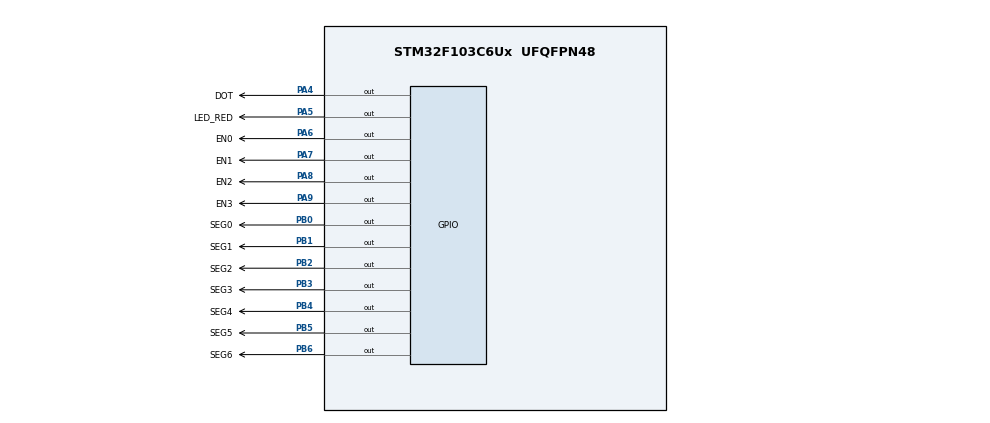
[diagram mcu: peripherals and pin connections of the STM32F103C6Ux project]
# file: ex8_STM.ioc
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Mcu.Family=STM32F1
Mcu.Name=STM32F103C6Ux
Mcu.Package=UFQFPN48
NVIC.PriorityGroup=NVIC_PRIORITYGROUP_4
NVIC.TIM2_IRQn=true\:0\:0\:false\:false\:true\:true\:true
PA4.GPIO_Label=DOT
PA4.Signal=GPIO_Output
PA5.GPIO_Label=LED_RED
PA5.Signal=GPIO_Output
PA6.GPIO_Label=EN0
PA6.Signal=GPIO_Output
PA7.GPIO_Label=EN1
PA7.Signal=GPIO_Output
PA8.GPIO_Label=EN2
PA8.Signal=GPIO_Output
PA9.GPIO_Label=EN3
PA9.Signal=GPIO_Output
PB0.GPIO_Label=SEG0
PB0.Signal=GPIO_Output
PB1.GPIO_Label=SEG1
PB1.Signal=GPIO_Output
PB2.GPIO_Label=SEG2
PB2.Signal=GPIO_Output
PB3.GPIO_Label=SEG3
PB3.Signal=GPIO_Output
PB4.GPIO_Label=SEG4
PB4.Signal=GPIO_Output
PB5.GPIO_Label=SEG5
PB5.Signal=GPIO_Output
PB6.GPIO_Label=SEG6
PB6.Signal=GPIO_Output
ProjectManager.HeapSize=0x200
ProjectManager.StackSize=0x400
ProjectManager.TargetToolchain=STM32CubeIDE
RCC.APB1Freq_Value=8000000
RCC.APB2Freq_Value=8000000
TIM2.Period=9
TIM2.Prescaler=7999
VP_SYS_VS_ND.Mode=No_Debug
VP_TIM2_VS_ClockSourceINT.Mode=Internal
board=custom

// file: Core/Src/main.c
/* USER CODE BEGIN Header */
/**
  ******************************************************************************
  * @file           : main.c
  * @brief          : Main program body
  ******************************************************************************
  * @attention
  *
  * <h2><center>&copy; Copyright (c) 2022 STMicroelectronics.
  * All rights reserved.</center></h2>
  *
  * This software component is licensed by ST under BSD 3-Clause license,
  * the "License"; You may not use this file except in compliance with the
  * License. You may obtain a copy of the License at:
  *                        opensource.org/licenses/BSD-3-Clause
  *
  ******************************************************************************
  */
/* USER CODE END Header */
#include "main.h"

TIM_HandleTypeDef htim2;

void SystemClock_Config(void);
static void MX_GPIO_Init(void);
static void MX_TIM2_Init(void);

/* USER CODE BEGIN 0 */
uint8_t segmentNumber[10] = {
        0x3f,  // 0
        0x06,  // 1
        0x5b,  // 2
        0x4f,  // 3
        0x66,  // 4
        0x6d,  // 5
        0x7d,  // 6
        0x07,  // 7
        0x7f,  // 8
        0x67   // 9
};

void display7SEG(uint8_t number){
	HAL_GPIO_WritePin(SEG0_GPIO_Port, SEG0_Pin, ((number>>0)&0x01)^0x01);
	HAL_GPIO_WritePin(SEG1_GPIO_Port, SEG1_Pin, ((number>>1)&0x01)^0x01);
	HAL_GPIO_WritePin(SEG2_GPIO_Port, SEG2_Pin, ((number>>2)&0x01)^0x01);
	HAL_GPIO_WritePin(SEG3_GPIO_Port, SEG3_Pin, ((number>>3)&0x01)^0x01);
	HAL_GPIO_WritePin(SEG4_GPIO_Port, SEG4_Pin, ((number>>4)&0x01)^0x01);
	HAL_GPIO_WritePin(SEG5_GPIO_Port, SEG5_Pin, ((number>>5)&0x01)^0x01);
	HAL_GPIO_WritePin(SEG6_GPIO_Port, SEG6_Pin, ((number>>6)&0x01)^0x01);
}
int led_buffer[4] = {1, 2, 3, 4};
const int MAX_LED = 4;
int index_led = 0;
void update7SEG(int index){
	switch (index){
		case 0:{
			HAL_GPIO_WritePin(GPIOA, EN1_Pin|EN2_Pin
								|EN3_Pin, GPIO_PIN_SET);
			HAL_GPIO_WritePin(EN0_GPIO_Port, EN0_Pin, RESET);
			display7SEG(segmentNumber[led_buffer[0]]);
//			index = 1;
			break;
		}
		case 1:{
			HAL_GPIO_WritePin(GPIOA, EN0_Pin|EN2_Pin
								|EN3_Pin, GPIO_PIN_SET);
			HAL_GPIO_WritePin(EN1_GPIO_Port, EN1_Pin, RESET);
			display7SEG(segmentNumber[led_buffer[1]]);
//			index = 2;
			break;
		}
		case 2:{
			HAL_GPIO_WritePin(GPIOA, EN0_Pin|EN1_Pin
								|EN3_Pin, GPIO_PIN_SET);
			HAL_GPIO_WritePin(EN2_GPIO_Port, EN2_Pin, RESET);
			display7SEG(segmentNumber[led_buffer[2]]);
//			index = 3;
			break;
		}
		case 3:{
			HAL_GPIO_WritePin(GPIOA, EN0_Pin|EN2_Pin
								|EN1_Pin, GPIO_PIN_SET);
			HAL_GPIO_WritePin(EN3_GPIO_Port, EN3_Pin, RESET);
			display7SEG(segmentNumber[led_buffer[3]]);
			index_led = 0;
			break;
		}
	}
}
void updateClockBuffer(int hour, int minute){
	led_buffer[0] = hour/10;
	led_buffer[1] = hour%10;
	led_buffer[2] = minute/10;
	led_buffer[3] = minute%10;
}

int timer1_counter = 0;
int timer1_flag = 0;
int TIMER_CYCLE1 = 10;
void setTimer1 (int duration) {
	timer1_counter = duration/TIMER_CYCLE1 ;
	timer1_flag = 0;
}

int timer2_counter = 0;
int timer2_flag = 0;
int TIMER_CYCLE2 = 40;
void setTimer2 (int duration) {
	timer2_counter = duration/TIMER_CYCLE2 ;
	timer2_flag = 0;
}
void timer_run () {
	if( timer1_counter > 0) {
		timer1_counter--;
	}
	if( timer1_counter == 0) timer1_flag = 1;

	if( timer2_counter > 0) {
		timer2_counter--;
	}
	if( timer2_counter == 0) timer2_flag = 1;

}
/* USER CODE END 0 */

int main(void)
{

  /* MCU Configuration--------------------------------------------------------*/

  /* Reset of all peripherals, Initializes the Flash interface and the Systick. */
  HAL_Init();

  /* Configure the system clock */
  SystemClock_Config();

  /* Initialize all configured peripherals */
  MX_GPIO_Init();
  MX_TIM2_Init();
  /* USER CODE BEGIN 2 */
  HAL_TIM_Base_Start_IT(&htim2);
  /* USER CODE END 2 */

  /* Infinite loop */
  /* USER CODE BEGIN WHILE */
  int hour = 15, minute = 8, second = 50;
  setTimer1(1000);
  setTimer2(1000);
  while (1)
  {
	  updateClockBuffer(hour, minute);
	  if(timer2_flag == 1){
		  update7SEG(index_led++);
		  setTimer2(1000);
	  }
	  if (timer1_flag == 1) {

		  second++;
		  if(second >= 60) {
			  second = 0;
			  minute++;
		  }
		  if(minute >= 60) {
			  minute = 0;
			  hour++;
		  }
		  if(hour>= 24) {
			  hour = 0;
		  }
		  HAL_GPIO_TogglePin(LED_RED_GPIO_Port, LED_RED_Pin);
		  HAL_GPIO_TogglePin(DOT_GPIO_Port, DOT_Pin);
		  setTimer1(1000);
	  }

    /* USER CODE END WHILE */

  }
}

void SystemClock_Config(void)
{
  RCC_OscInitTypeDef RCC_OscInitStruct = {0};
  RCC_ClkInitTypeDef RCC_ClkInitStruct = {0};

  /** Initializes the RCC Oscillators according to the specified parameters
  * in the RCC_OscInitTypeDef structure.
  */
  RCC_OscInitStruct.OscillatorType = RCC_OSCILLATORTYPE_HSI;
  RCC_OscInitStruct.HSIState = RCC_HSI_ON;
  RCC_OscInitStruct.HSICalibrationValue = RCC_HSICALIBRATION_DEFAULT;
  RCC_OscInitStruct.PLL.PLLState = RCC_PLL_NONE;
  if (HAL_RCC_OscConfig(&RCC_OscInitStruct) != HAL_OK)
  {
    Error_Handler();
  }
  /** Initializes the CPU, AHB and APB buses clocks
  */
  RCC_ClkInitStruct.ClockType = RCC_CLOCKTYPE_HCLK|RCC_CLOCKTYPE_SYSCLK
                              |RCC_CLOCKTYPE_PCLK1|RCC_CLOCKTYPE_PCLK2;
  RCC_ClkInitStruct.SYSCLKSource = RCC_SYSCLKSOURCE_HSI;
  RCC_ClkInitStruct.AHBCLKDivider = RCC_SYSCLK_DIV1;
  RCC_ClkInitStruct.APB1CLKDivider = RCC_HCLK_DIV1;
  RCC_ClkInitStruct.APB2CLKDivider = RCC_HCLK_DIV1;

  if (HAL_RCC_ClockConfig(&RCC_ClkInitStruct, FLASH_LATENCY_0) != HAL_OK)
  {
    Error_Handler();
  }
}

static void MX_TIM2_Init(void)
{

  TIM_ClockConfigTypeDef sClockSourceConfig = {0};
  TIM_MasterConfigTypeDef sMasterConfig = {0};

  htim2.Instance = TIM2;
  htim2.Init.Prescaler = 7999;
  htim2.Init.CounterMode = TIM_COUNTERMODE_UP;
  htim2.Init.Period = 9;
  htim2.Init.ClockDivision = TIM_CLOCKDIVISION_DIV1;
  htim2.Init.AutoReloadPreload = TIM_AUTORELOAD_PRELOAD_DISABLE;
  if (HAL_TIM_Base_Init(&htim2) != HAL_OK)
  {
    Error_Handler();
  }
  sClockSourceConfig.ClockSource = TIM_CLOCKSOURCE_INTERNAL;
  if (HAL_TIM_ConfigClockSource(&htim2, &sClockSourceConfig) != HAL_OK)
  {
    Error_Handler();
  }
  sMasterConfig.MasterOutputTrigger = TIM_TRGO_RESET;
  sMasterConfig.MasterSlaveMode = TIM_MASTERSLAVEMODE_DISABLE;
  if (HAL_TIMEx_MasterConfigSynchronization(&htim2, &sMasterConfig) != HAL_OK)
  {
    Error_Handler();
  }

}

static void MX_GPIO_Init(void)
{
  GPIO_InitTypeDef GPIO_InitStruct = {0};

  /* GPIO Ports Clock Enable */
  __HAL_RCC_GPIOA_CLK_ENABLE();
  __HAL_RCC_GPIOB_CLK_ENABLE();

  /*Configure GPIO pin Output Level */
  HAL_GPIO_WritePin(GPIOA, DOT_Pin|LED_RED_Pin|EN0_Pin|EN1_Pin
                          |EN2_Pin|EN3_Pin, GPIO_PIN_RESET);

  /*Configure GPIO pin Output Level */
  HAL_GPIO_WritePin(GPIOB, SEG0_Pin|SEG1_Pin|SEG2_Pin|SEG3_Pin
                          |SEG4_Pin|SEG5_Pin|SEG6_Pin, GPIO_PIN_RESET);

  /*Configure GPIO pins : DOT_Pin LED_RED_Pin EN0_Pin EN1_Pin
                           EN2_Pin EN3_Pin */
  GPIO_InitStruct.Pin = DOT_Pin|LED_RED_Pin|EN0_Pin|EN1_Pin
                          |EN2_Pin|EN3_Pin;
  GPIO_InitStruct.Mode = GPIO_MODE_OUTPUT_PP;
  GPIO_InitStruct.Pull = GPIO_NOPULL;
  GPIO_InitStruct.Speed = GPIO_SPEED_FREQ_LOW;
  HAL_GPIO_Init(GPIOA, &GPIO_InitStruct);

  /*Configure GPIO pins : SEG0_Pin SEG1_Pin SEG2_Pin SEG3_Pin
                           SEG4_Pin SEG5_Pin SEG6_Pin */
  GPIO_InitStruct.Pin = SEG0_Pin|SEG1_Pin|SEG2_Pin|SEG3_Pin
                          |SEG4_Pin|SEG5_Pin|SEG6_Pin;
  GPIO_InitStruct.Mode = GPIO_MODE_OUTPUT_PP;
  GPIO_InitStruct.Pull = GPIO_NOPULL;
  GPIO_InitStruct.Speed = GPIO_SPEED_FREQ_LOW;
  HAL_GPIO_Init(GPIOB, &GPIO_InitStruct);

}

/* USER CODE BEGIN 4 */
void HAL_TIM_PeriodElapsedCallback ( TIM_HandleTypeDef * htim ){
	timer_run();
}
/* USER CODE END 4 */

void Error_Handler(void)
{
  __disable_irq();
  while (1)
  {
  }
}

/************************ (C) COPYRIGHT STMicroelectronics *****END OF FILE****/
